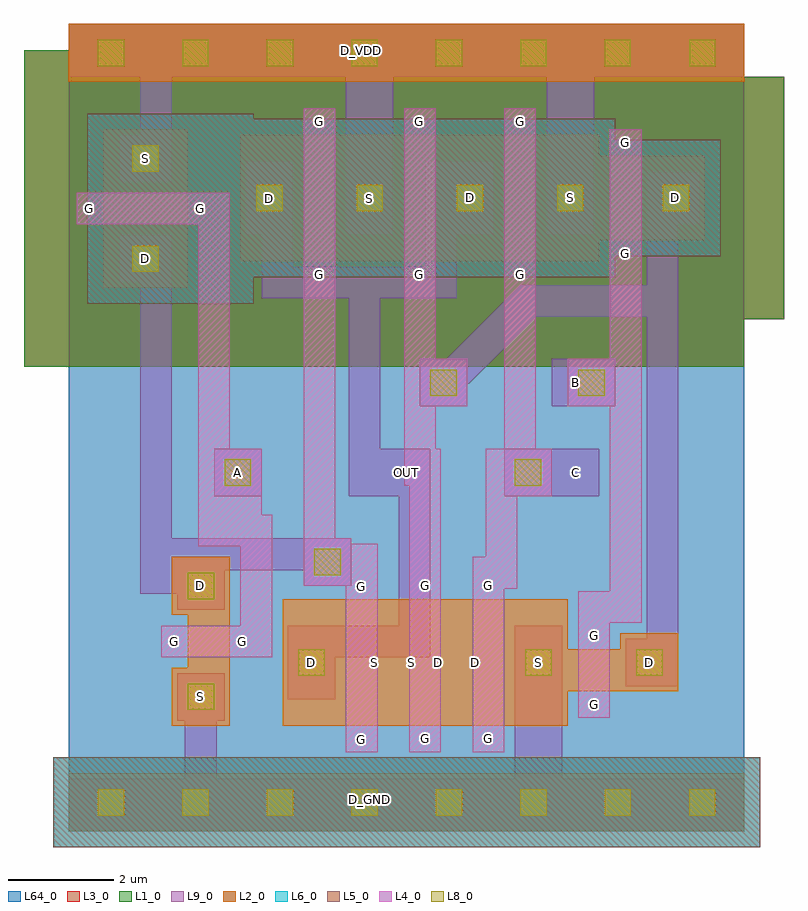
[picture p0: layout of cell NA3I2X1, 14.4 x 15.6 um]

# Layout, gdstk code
import gdstk
lib = gdstk.Library(unit=1e-6, precision=1e-09)
def R(c, l, rs):  # rectangles x0, y0, x1, y1
    for r in rs: c.add(gdstk.rectangle(r[:2], r[2:], *l))
def A(c, l, x, y, w, h, nx, ny, dx, dy):  # array of equal rectangles
    R(c, l, [(x+i*dx, y+j*dy, x+i*dx+w, y+j*dy+h) for i in range(nx) for j in range(ny)])
def P(c, l, *ps):  # polygons
    for p in ps: c.add(gdstk.Polygon(p, *l))
L1_0 = (1, 0)
L2_0 = (2, 0)
L3_0 = (3, 0)
L4_0 = (4, 0)
L5_0 = (5, 0)
L6_0 = (6, 0)
L8_0 = (8, 0)
L9_0 = (9, 0)
L64_0 = (64, 0)

gridx1 = lib.new_cell('GRIDX1')
R(gridx1, L1_0, [(0,8.8,1.6,15.3)])
R(gridx1, L2_0, [(0,0,1.6,1.1), (0,14.2,1.6,15.3)])
R(gridx1, L3_0, [(0,8.8,1.6,15.3)])
R(gridx1, L5_0, [(0,-0.3,1.6,1.4)])
R(gridx1, L6_0, [(0,-0.3,1.6,1.4)])
R(gridx1, L8_0, [(0.55,0.3,1.05,0.8), (0.55,14.5,1.05,15)])
R(gridx1, L9_0, [(0,0,1.6,1), (0,14.3,1.6,15.3)])

grid_icc = lib.new_cell('GRID_ICC')
A(grid_icc, L64_0, 0, 0, 1.6, 1.7, 1, 9, 0, 1.7)
R(grid_icc, L64_0, [(0,1.25,0.45,1.7), (1.15,1.25,1.6,1.7), (0,1.7,0.45,2.15), (1.15,1.7,1.6,2.15), (0,2.95,0.45,3.4), (1.15,2.95,1.6,3.4), (0,3.4,0.45,3.85), (1.15,3.4,1.6,3.85), (0,4.65,0.45,5.1), (1.15,4.65,1.6,5.1), (0,5.1,0.45,5.55), (1.15,5.1,1.6,5.55), (0,6.35,0.45,6.8), (1.15,6.35,1.6,6.8), (0,6.8,0.45,7.25), (1.15,6.8,1.6,7.25), (0,8.05,0.45,8.5), (1.15,8.05,1.6,8.5), (0,8.5,0.45,8.95), (1.15,8.5,1.6,8.95), (0,9.75,0.45,10.2), (1.15,9.75,1.6,10.2), (0,10.2,0.45,10.65), (1.15,10.2,1.6,10.65), (0,11.45,0.45,11.9), (1.15,11.45,1.6,11.9), (0,11.9,0.45,12.35), (1.15,11.9,1.6,12.35), (0,13.15,0.45,13.6), (1.15,13.15,1.6,13.6), (0,13.6,0.45,14.05), (1.15,13.6,1.6,14.05)])

na3i2x1 = lib.new_cell('NA3I2X1')
A(na3i2x1, L1_0, 1.75, 9.3, 6, 5.4, 3, 1, 1.9, 0)
R(na3i2x1, L1_0, [(-0.85,8.8,3.75,14.8), (0,8.8,1.6,15.3), (11.2,8.8,12.8,15.3), (7.55,9.7,13.55,14.3)])
A(na3i2x1, L2_0, 5.15, 2, 0.8, 2.4, 3, 1, 1.2, 0)
A(na3i2x1, L2_0, 4.35, 10.8, 0.8, 2.4, 3, 1, 1.9, 0)
R(na3i2x1, L2_0, [(0,0,1.6,1.1), (11.2,0,12.8,1.1), (1.95,2,3.05,3.1), (4.05,2,5.15,4.4), (5.25,2,6.35,4.4), (5.95,2,7.05,4.4), (6.45,2,7.55,4.4), (7.15,2,8.25,4.4), (8.35,2,9.45,4.4), (8.35,2.65,9.45,3.75), (9.45,2.65,10.45,3.45), (10.45,2.65,11.55,3.75), (2.25,3.1,3.05,4.1), (1.95,4.1,3.05,5.2), (0.65,10.3,2.25,11.4), (3.25,10.8,4.35,13.2), (5.15,10.8,6.25,13.2), (5.15,10.8,6.25,13.2), (7.05,10.8,8.15,13.2), (7.05,10.8,8.15,13.2), (8.95,10.8,10.05,13.2), (9.05,11.2,10.15,12.8), (10.15,11.2,10.95,12.8), (10.95,11.2,12.05,12.8), (0.65,11.4,2.25,12.2), (0.65,12.2,2.25,13.3), (0,14.2,1.6,15.3), (11.2,14.2,12.8,15.3)])
A(na3i2x1, L3_0, 1.75, 9.3, 6, 5.4, 3, 1, 1.9, 0)
R(na3i2x1, L3_0, [(-0.85,8.8,3.75,14.8), (0,8.8,1.6,15.3), (11.2,8.8,12.8,15.3), (7.55,9.7,13.55,14.3)])
A(na3i2x1, L4_0, 5.25, 1.5, 0.6, 3.4, 3, 1, 1.2, 0)
A(na3i2x1, L4_0, 5.25, 1.5, 0.6, 0.5, 3, 2, 1.2, 2.9)
A(na3i2x1, L4_0, 4.45, 10.3, 0.6, 3.4, 3, 1, 1.9, 0)
A(na3i2x1, L4_0, 4.45, 10.3, 0.6, 0.5, 3, 2, 1.9, 2.9)
R(na3i2x1, L4_0, [(9.65,2.15,10.25,2.65), (9.65,2.15,10.25,3.95), (1.75,3.3,3.55,3.9), (1.75,3.3,2.25,3.9), (3.05,3.3,3.55,3.9), (3.25,3.3,3.85,6), (9.65,3.45,10.25,3.95), (4.45,4.65,5.35,5.55), (3.05,5.85,3.65,6.9), (2.75,6.35,3.65,7.25), (8.25,6.35,9.15,7.25), (4.45,6.65,5.05,9.3), (8.25,6.65,8.85,9.3), (6.35,7.55,6.95,9.3), (6.65,8.05,7.55,8.95), (9.45,8.05,10.35,8.95), (10.25,10.7,10.85,11.2), (10.25,10.7,10.85,13.3), (0.15,11.5,0.65,12.1), (0.15,11.5,2.75,12.1), (2.25,11.5,2.75,12.1), (10.25,12.8,10.85,13.3)])
P(na3i2x1, L4_0, [(9.65,2.15),(10.25,2.15),(10.25,3.95),(10.85,3.95),(10.85,13.3),(10.25,13.3),(10.25,4.55),(9.65,4.55)],
  [(2.45,5.4),(3.85,5.4),(3.85,6),(3.05,6),(3.05,12.1),(2.45,12.1)],
  [(7.65,4.6),(8.5,4.6),(8.5,7.25),(7.9,7.25),(7.9,5.2),(7.65,5.2)])
A(na3i2x1, L5_0, 2.95, 10.5, 3.6, 3, 3, 1, 1.9, 0)
R(na3i2x1, L5_0, [(-0.3,-0.3,1.6,1.4), (11.2,-0.3,13.1,1.4), (0.35,10,2.55,13.6), (2.55,10,3.5,13.6), (8.75,10.9,12.35,13.1)])
A(na3i2x1, L6_0, 2.95, 10.5, 3.6, 3, 3, 1, 1.9, 0)
R(na3i2x1, L6_0, [(-0.3,-0.3,1.6,1.4), (11.2,-0.3,13.1,1.4), (0.35,10,2.55,13.6), (2.55,10,3.5,13.6), (8.75,10.9,12.35,13.1)])
R(na3i2x1, L8_0, [(0.55,0.3,1.05,0.8), (11.75,0.3,12.25,0.8), (2.25,2.3,2.75,2.8), (4.35,2.95,4.85,3.45), (8.65,2.95,9.15,3.45), (8.65,2.95,9.15,3.45), (10.75,2.95,11.25,3.45), (2.25,4.4,2.75,4.9), (4.65,4.85,5.15,5.35), (2.95,6.55,3.45,7.05), (8.45,6.55,8.95,7.05), (6.85,8.25,7.35,8.75), (9.65,8.25,10.15,8.75), (1.2,10.6,1.7,11.1), (3.55,11.75,4.05,12.25), (5.45,11.75,5.95,12.25), (5.45,11.75,5.95,12.25), (7.35,11.75,7.85,12.25), (7.35,11.75,7.85,12.25), (9.25,11.75,9.75,12.25), (11.25,11.75,11.75,12.25), (1.2,12.5,1.7,13), (0.55,14.5,1.05,15), (11.75,14.5,12.25,15)])
A(na3i2x1, L9_0, 2.9, 6.5, 0.6, 0.6, 3, 1, 3.2, 0)
R(na3i2x1, L9_0, [(0,0,1.6,1), (11.2,0,12.8,1), (2.2,0.3,9.15,0.9), (5.4,0.3,6,0.9), (8.45,0.3,9.35,2.5), (2.05,2.1,2.95,3), (4.15,2.5,5.05,3.9), (8.45,2.5,9.35,3.9), (8.45,2.75,9.35,3.65), (10.55,2.75,11.45,3.65), (10.95,2.75,11.55,12.5), (2.05,4.2,2.95,5.1), (4.45,4.65,5.35,5.55), (1.35,4.95,5.35,5.55), (2.75,6.35,3.65,7.25), (5.3,6.35,6.85,7.25), (8.25,6.35,9.15,7.25), (8.25,6.35,10.05,7.25), (6.65,8.05,7.55,8.95), (9.15,8.05,10.35,8.95), (9.45,8.05,10.35,8.95), (9.3,8.2,9.9,8.8), (0.95,10.4,1.95,11.3), (3.35,11.3,4.25,12.7), (5.25,11.3,6.15,12.7), (5.25,11.3,6.15,12.7), (7.15,11.3,8.05,12.7), (7.15,11.3,8.05,12.7), (9.05,11.3,9.95,12.7), (11.05,11.5,11.95,12.5), (5.25,11.7,6.15,15.2), (0.95,12.3,1.95,13.2), (0,14.3,1.6,15.3), (11.2,14.3,12.8,15.3), (1.5,14.5,5.8,15.1), (5.25,14.5,5.85,15.1)])
P(na3i2x1, L9_0, [(1.35,4.5),(2.95,4.5),(2.95,5.1),(1.95,5.1),(1.95,11.3),(1.35,11.3)],
  [(9.05,11.7),(9.95,11.7),(9.95,14.3),(10.65,14.3),(10.65,15.2),(9.05,15.2)],
  [(3.65,10.1),(7.35,10.1),(7.35,12.7),(6.75,12.7),(6.75,10.7),(4.25,10.7),(4.25,12.7),(3.65,12.7)],
  [(1.35,12.3),(1.95,12.3),(1.95,14.5),(2.1,14.5),(2.1,15.1),(1.35,15.1)],
  [(2.1,0.3),(2.8,0.3),(2.8,2.9),(2.2,2.9),(2.2,0.9),(2.1,0.9)],
  [(6.75,8.3),(7.4,8.3),(8.85,9.75),(11.55,9.75),(11.55,10.35),(8.55,10.35),(7.1,8.9),(6.75,8.9)],
  [(4.15,3.3),(6.85,3.3),(6.85,7.25),(6.25,7.25),(6.25,3.9),(4.15,3.9)],
  [(5.3,6.35),(6.85,6.35),(6.85,6.95),(5.9,6.95),(5.9,10.7),(5.3,10.7)])
na3i2x1.add(gdstk.FlexPath([(5.55,4.6),(5.55,5.15),(4.75,5.15),(4.75,6.65)], 0.6, ends="flush", simple_path=True, layer=4, datatype=0))  # L4_0
na3i2x1.add(gdstk.FlexPath([(6.65,7.7),(6.65,6.55)], 0.6, ends="flush", simple_path=True, layer=4, datatype=0))  # L4_0
na3i2x1.add(gdstk.FlexPath([(4.75,9.3),(4.75,10.3)], 0.6, ends="flush", simple_path=True, layer=4, datatype=0))  # L4_0
na3i2x1.add(gdstk.FlexPath([(6.75,4.7),(6.75,7.25)], 0.6, ends="flush", simple_path=True, layer=4, datatype=0))  # L4_0
na3i2x1.add(gdstk.FlexPath([(8.55,6.35),(8.55,6.75)], 0.6, ends="flush", simple_path=True, layer=4, datatype=0))  # L4_0
na3i2x1.add(gdstk.FlexPath([(8.55,9.3),(8.55,10.3)], 0.6, ends="flush", simple_path=True, layer=4, datatype=0))  # L4_0
na3i2x1.add(gdstk.FlexPath([(6.65,9.3),(6.65,10.3)], 0.6, ends="flush", simple_path=True, layer=4, datatype=0))  # L4_0
na3i2x1.add(gdstk.FlexPath([(9.2,14.75),(6,14.75)], 0.9, ends="flush", simple_path=True, layer=9, datatype=0))  # L9_0
na3i2x1.add(gdstk.Reference(gridx1, (1.6,0)))
na3i2x1.add(gdstk.Reference(gridx1, (3.2,0)))
na3i2x1.add(gdstk.Reference(gridx1, (4.8,0)))
na3i2x1.add(gdstk.Reference(gridx1, (6.4,0)))
na3i2x1.add(gdstk.Reference(gridx1, (8,0)))
na3i2x1.add(gdstk.Reference(gridx1, (9.6,0)))
r = gdstk.Reference(grid_icc, (0,0)); r.repetition = gdstk.Repetition(8, 1, v1=(1.6,0), v2=(0,15.3)); na3i2x1.add(r)
na3i2x1.add(gdstk.Label('G', (8.55,10.552), layer=4, texttype=0))
na3i2x1.add(gdstk.Label('G', (8.55,13.452), layer=4, texttype=0))
na3i2x1.add(gdstk.Label('S', (9.501,12.001), layer=9, texttype=0))
na3i2x1.add(gdstk.Label('D', (7.601,12.001), layer=9, texttype=0))
na3i2x1.add(gdstk.Label('D', (7.001,3.201), layer=2, texttype=0))
na3i2x1.add(gdstk.Label('G', (7.95,1.752), layer=4, texttype=0))
na3i2x1.add(gdstk.Label('G', (7.95,4.652), layer=4, texttype=0))
na3i2x1.add(gdstk.Label('S', (8.901,3.201), layer=9, texttype=0))
na3i2x1.add(gdstk.Label('G', (3.298,3.6), layer=4, texttype=0))
na3i2x1.add(gdstk.Label('G', (1.998,3.6), layer=4, texttype=0))
na3i2x1.add(gdstk.Label('S', (2.499,2.549), layer=9, texttype=0))
na3i2x1.add(gdstk.Label('D', (2.499,4.649), layer=9, texttype=0))
na3i2x1.add(gdstk.Label('G', (9.95,2.402), layer=4, texttype=0))
na3i2x1.add(gdstk.Label('G', (9.95,3.702), layer=4, texttype=0))
na3i2x1.add(gdstk.Label('S', (8.899,3.201), layer=9, texttype=0))
na3i2x1.add(gdstk.Label('D', (10.999,3.201), layer=9, texttype=0))
na3i2x1.add(gdstk.Label('G', (2.498,11.8), layer=4, texttype=0))
na3i2x1.add(gdstk.Label('G', (0.398,11.8), layer=4, texttype=0))
na3i2x1.add(gdstk.Label('S', (1.449,12.751), layer=9, texttype=0))
na3i2x1.add(gdstk.Label('D', (1.449,10.851), layer=9, texttype=0))
na3i2x1.add(gdstk.Label('G', (10.55,10.952), layer=4, texttype=0))
na3i2x1.add(gdstk.Label('G', (10.55,13.052), layer=4, texttype=0))
na3i2x1.add(gdstk.Label('S', (9.599,12.001), layer=2, texttype=0))
na3i2x1.add(gdstk.Label('D', (11.499,12.001), layer=9, texttype=0))
na3i2x1.add(gdstk.Label('G', (4.75,13.448), layer=4, texttype=0))
na3i2x1.add(gdstk.Label('G', (4.75,10.548), layer=4, texttype=0))
na3i2x1.add(gdstk.Label('S', (5.701,11.999), layer=9, texttype=0))
na3i2x1.add(gdstk.Label('D', (3.801,11.999), layer=9, texttype=0))
na3i2x1.add(gdstk.Label('G', (5.55,4.648), layer=4, texttype=0))
na3i2x1.add(gdstk.Label('G', (5.55,1.748), layer=4, texttype=0))
na3i2x1.add(gdstk.Label('S', (6.501,3.199), layer=2, texttype=0))
na3i2x1.add(gdstk.Label('D', (4.601,3.199), layer=9, texttype=0))
na3i2x1.add(gdstk.Label('G', (6.65,10.552), layer=4, texttype=0))
na3i2x1.add(gdstk.Label('G', (6.65,13.452), layer=4, texttype=0))
na3i2x1.add(gdstk.Label('S', (5.699,12.001), layer=9, texttype=0))
na3i2x1.add(gdstk.Label('D', (7.599,12.001), layer=9, texttype=0))
na3i2x1.add(gdstk.Label('D', (7.699,3.201), layer=2, texttype=0))
na3i2x1.add(gdstk.Label('G', (6.75,1.752), layer=4, texttype=0))
na3i2x1.add(gdstk.Label('G', (6.75,4.652), layer=4, texttype=0))
na3i2x1.add(gdstk.Label('S', (5.799,3.201), layer=2, texttype=0))
na3i2x1.add(gdstk.Label('A', (3.2,6.8), layer=50, texttype=0))
na3i2x1.add(gdstk.Label('B', (9.6,8.5), layer=50, texttype=0))
na3i2x1.add(gdstk.Label('C', (9.6,6.8), layer=50, texttype=0))
na3i2x1.add(gdstk.Label('D_GND', (5.7,0.6), layer=50, texttype=0))
na3i2x1.add(gdstk.Label('D_VDD', (5.55,14.8), layer=50, texttype=0))
na3i2x1.add(gdstk.Label('OUT', (6.4,6.8), layer=50, texttype=0))

lib.write_gds('NA3I2X1.gds')
